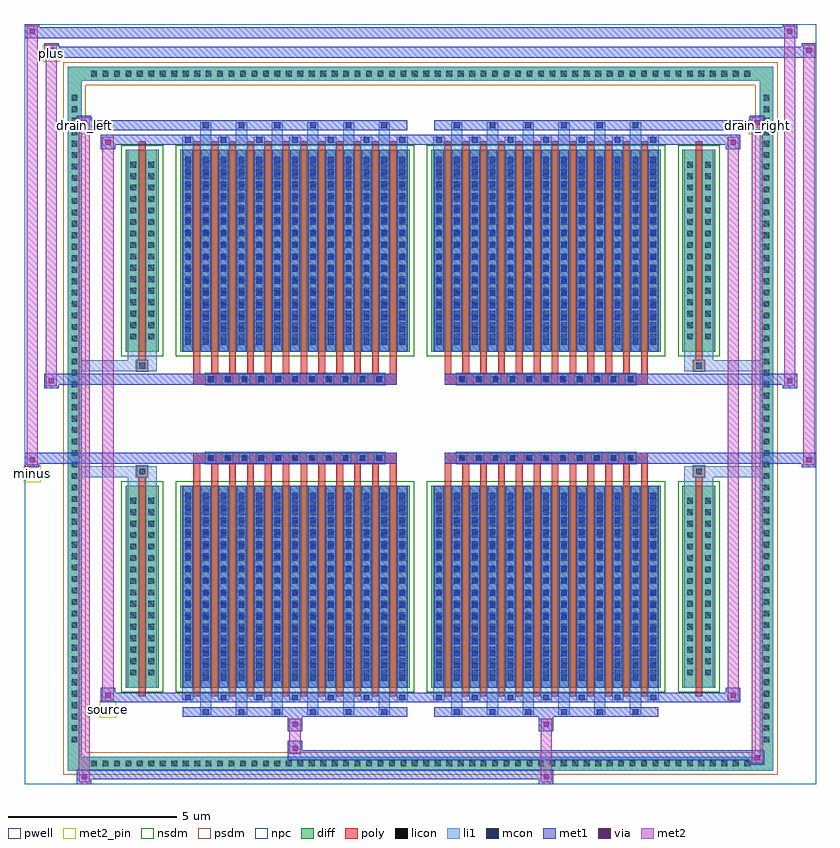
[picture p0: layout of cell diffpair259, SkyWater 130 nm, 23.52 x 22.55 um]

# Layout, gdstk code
import gdstk
lib = gdstk.Library(unit=1e-6, precision=5e-09)
def R(c, l, rs):  # rectangles x0, y0, x1, y1
    for r in rs: c.add(gdstk.rectangle(r[:2], r[2:], *l))
def A(c, l, x, y, w, h, nx, ny, dx, dy):  # array of equal rectangles
    R(c, l, [(x+i*dx, y+j*dy, x+i*dx+w, y+j*dy+h) for i in range(nx) for j in range(ny)])
def P(c, l, *ps):  # polygons
    for p in ps: c.add(gdstk.Polygon(p, *l))
pwell = (64, 44)
diff = (65, 20)
poly = (66, 20)
licon = (66, 44)
li1 = (67, 20)
mcon = (67, 44)
met1 = (68, 20)
via = (68, 44)
met2_pin = (69, 16)
met2 = (69, 20)
nsdm = (93, 44)
psdm = (94, 20)
npc = (95, 20)

diffpair259 = lib.new_cell('diffpair259')
R(diffpair259, pwell, [(-11.74,-10.84,11.74,11.71), (-9.06,-9.03,-0.01,-0.805), (0.01,-9.03,9.06,-0.805), (-9.06,0.805,-0.01,9.03), (0.01,0.805,9.06,9.03)])
A(diffpair259, diff, -9.895, -10.44, 0.41, 0.41, 58, 2, 0.34, 20.47)
A(diffpair259, diff, -10.47, -9.725, 0.41, 0.41, 1, 57, 0, 0.34)
A(diffpair259, diff, 10.06, -9.725, 0.41, 0.41, 1, 57, 0, 0.34)
R(diffpair259, diff, [(-9.895,-10.44,9.895,-10.03), (-10.47,-9.725,-10.06,9.725), (10.06,-9.725,10.47,9.725), (-8.75,-7.985,-7.77,-1.985), (-7.13,-7.985,-0.32,-1.985), (0.32,-7.985,7.13,-1.985), (7.77,-7.985,8.75,-1.985), (-8.75,1.985,-7.77,7.985), (-7.13,1.985,-0.32,7.985), (0.32,1.985,7.13,7.985), (7.77,1.985,8.75,7.985), (-9.895,10.03,9.895,10.44)])
P(diffpair259, diff, [(10.47,10.44),(-10.47,10.44),(-10.47,-10.03),(-10.06,-10.03),(-10.06,10.03),(10.06,10.03),(10.06,-10.03),(-10.06,-10.03),(-10.47,-10.03),(-10.47,-10.44),(10.47,-10.44)])
A(diffpair259, poly, -6.74, -8.235, 0.2, 6.5, 12, 2, 0.53, 9.97)
A(diffpair259, poly, 0.71, -8.235, 0.2, 6.5, 12, 2, 0.53, 9.97)
A(diffpair259, poly, -6.74, -1.735, 0.2, 0.4, 12, 2, 0.53, 3.07)
A(diffpair259, poly, 0.71, -1.735, 0.2, 0.4, 12, 2, 0.53, 3.07)
A(diffpair259, poly, -6.39, -1.335, 0.33, 0.33, 11, 2, 0.5, 2.34)
A(diffpair259, poly, 1.06, -1.335, 0.33, 0.33, 11, 2, 0.5, 2.34)
R(diffpair259, poly, [(-8.36,-8.235,-8.16,-1.735), (8.16,-8.235,8.36,-1.735), (-8.425,-1.735,-8.095,-1.405), (-8.425,-1.735,-8.095,-1.405), (8.095,-1.735,8.425,-1.405), (8.095,-1.735,8.425,-1.405), (-6.74,-1.335,-0.71,-1.005), (0.71,-1.335,6.74,-1.005), (-6.74,1.005,-0.71,1.335), (0.71,1.005,6.74,1.335), (-8.425,1.405,-8.095,1.735), (-8.425,1.405,-8.095,1.735), (8.095,1.405,8.425,1.735), (8.095,1.405,8.425,1.735), (-8.36,1.735,-8.16,8.235), (8.16,1.735,8.36,8.235)])
A(diffpair259, licon, -9.775, -10.32, 0.17, 0.17, 58, 2, 0.34, 20.47)
A(diffpair259, licon, -10.35, -9.605, 0.17, 0.17, 1, 57, 0, 0.34)
A(diffpair259, licon, 10.18, -9.605, 0.17, 0.17, 1, 57, 0, 0.34)
A(diffpair259, licon, -8.61, -7.62, 0.17, 0.17, 1, 16, 0, 0.34)
A(diffpair259, licon, -8.08, -7.62, 0.17, 0.17, 1, 16, 0, 0.34)
A(diffpair259, licon, -6.99, -7.62, 0.17, 0.17, 13, 16, 0.53, 0.34)
A(diffpair259, licon, 0.46, -7.62, 0.17, 0.17, 13, 16, 0.53, 0.34)
A(diffpair259, licon, 7.91, -7.62, 0.17, 0.17, 1, 16, 0, 0.34)
A(diffpair259, licon, 8.44, -7.62, 0.17, 0.17, 1, 16, 0, 0.34)
A(diffpair259, licon, -6.31, -1.255, 0.17, 0.17, 11, 2, 0.5, 2.34)
A(diffpair259, licon, 1.14, -1.255, 0.17, 0.17, 11, 2, 0.5, 2.34)
A(diffpair259, licon, -8.61, 2.35, 0.17, 0.17, 1, 16, 0, 0.34)
A(diffpair259, licon, -8.08, 2.35, 0.17, 0.17, 1, 16, 0, 0.34)
A(diffpair259, licon, -6.99, 2.35, 0.17, 0.17, 13, 16, 0.53, 0.34)
A(diffpair259, licon, 0.46, 2.35, 0.17, 0.17, 13, 16, 0.53, 0.34)
A(diffpair259, licon, 7.91, 2.35, 0.17, 0.17, 1, 16, 0, 0.34)
A(diffpair259, licon, 8.44, 2.35, 0.17, 0.17, 1, 16, 0, 0.34)
R(diffpair259, licon, [(-8.345,-1.655,-8.175,-1.485), (8.175,-1.655,8.345,-1.485), (-8.345,1.485,-8.175,1.655), (8.175,1.485,8.345,1.655)])
A(diffpair259, li1, -9.855, -10.4, 0.33, 0.33, 58, 2, 0.34, 20.47)
A(diffpair259, li1, -10.43, -9.685, 0.33, 0.33, 1, 57, 0, 0.34)
A(diffpair259, li1, 10.1, -9.685, 0.33, 0.33, 1, 57, 0, 0.34)
A(diffpair259, li1, -6.54, -8.79, 0.33, 0.805, 6, 2, 1.06, 16.775)
A(diffpair259, li1, -6.46, -8.79, 0.17, 0.17, 6, 2, 1.06, 17.41)
A(diffpair259, li1, 0.91, -8.79, 0.33, 0.805, 6, 2, 1.06, 16.775)
A(diffpair259, li1, 0.99, -8.79, 0.17, 0.17, 6, 2, 1.06, 17.41)
A(diffpair259, li1, -7.07, -8.36, 0.33, 0.375, 7, 2, 1.06, 16.345)
A(diffpair259, li1, -6.99, -8.36, 0.17, 0.17, 7, 2, 1.06, 16.55)
A(diffpair259, li1, 0.38, -8.36, 0.33, 0.375, 7, 2, 1.06, 16.345)
A(diffpair259, li1, 0.46, -8.36, 0.17, 0.17, 7, 2, 1.06, 16.55)
A(diffpair259, li1, -7.07, -7.985, 0.33, 6, 13, 2, 0.53, 9.97)
A(diffpair259, li1, 0.38, -7.985, 0.33, 6, 13, 2, 0.53, 9.97)
A(diffpair259, li1, -6.99, -7.77, 0.17, 0.17, 13, 16, 0.53, 0.36)
A(diffpair259, li1, -6.99, -7.77, 0.17, 5.57, 13, 2, 0.53, 9.97)
A(diffpair259, li1, 0.46, -7.77, 0.17, 0.17, 13, 16, 0.53, 0.36)
A(diffpair259, li1, 0.46, -7.77, 0.17, 5.57, 13, 2, 0.53, 9.97)
A(diffpair259, li1, -8.69, -7.7, 0.33, 0.33, 1, 16, 0, 0.34)
A(diffpair259, li1, -8.16, -7.7, 0.33, 0.33, 1, 16, 0, 0.34)
A(diffpair259, li1, -7.07, -7.7, 0.33, 0.33, 13, 16, 0.53, 0.34)
A(diffpair259, li1, 0.38, -7.7, 0.33, 0.33, 13, 16, 0.53, 0.34)
A(diffpair259, li1, 7.83, -7.7, 0.33, 0.33, 1, 16, 0, 0.34)
A(diffpair259, li1, 8.36, -7.7, 0.33, 0.33, 1, 16, 0, 0.34)
A(diffpair259, li1, -6.39, -1.335, 0.33, 0.33, 11, 2, 0.5, 2.34)
A(diffpair259, li1, 1.06, -1.335, 0.33, 0.33, 11, 2, 0.5, 2.34)
A(diffpair259, li1, -6.99, 2.2, 0.17, 0.17, 13, 16, 0.53, 0.36)
A(diffpair259, li1, 0.46, 2.2, 0.17, 0.17, 13, 16, 0.53, 0.36)
A(diffpair259, li1, -8.69, 2.27, 0.33, 0.33, 1, 16, 0, 0.34)
A(diffpair259, li1, -8.16, 2.27, 0.33, 0.33, 1, 16, 0, 0.34)
A(diffpair259, li1, -7.07, 2.27, 0.33, 0.33, 13, 16, 0.53, 0.34)
A(diffpair259, li1, 0.38, 2.27, 0.33, 0.33, 13, 16, 0.53, 0.34)
A(diffpair259, li1, 7.83, 2.27, 0.33, 0.33, 1, 16, 0, 0.34)
A(diffpair259, li1, 8.36, 2.27, 0.33, 0.33, 1, 16, 0, 0.34)
R(diffpair259, li1, [(-10.47,-10.44,-10.06,-10.03), (-10.47,-10.44,-10.06,-10.03), (-10.06,-10.44,10.06,-10.03), (10.06,-10.44,10.47,-10.03), (10.06,-10.44,10.47,-10.03), (-10.47,-10.03,-10.06,10.03), (10.06,-10.03,10.47,10.03), (-8.69,-7.985,-8.36,-1.985), (-8.16,-7.985,-7.83,-1.985), (7.83,-7.985,8.16,-1.985), (8.36,-7.985,8.69,-1.985), (-8.69,-1.985,-8.36,-1.405), (-8.16,-1.985,-7.83,-1.405), (7.83,-1.985,8.16,-1.405), (8.36,-1.985,8.69,-1.405), (-10.47,-1.735,-8.425,-1.405), (-8.69,-1.735,-8.425,-1.405), (-8.425,-1.735,-8.095,-1.405), (-8.095,-1.735,-7.83,-1.405), (7.83,-1.735,8.095,-1.405), (8.095,-1.735,8.425,-1.405), (8.095,-1.735,10.47,-1.405), (8.425,-1.735,8.69,-1.405), (-10.47,1.405,-8.425,1.735), (-8.69,1.405,-8.425,1.735), (-8.69,1.405,-8.36,1.985), (-8.425,1.405,-8.095,1.735), (-8.16,1.405,-7.83,1.985), (-8.095,1.405,-7.83,1.735), (7.83,1.405,8.095,1.735), (7.83,1.405,8.16,1.985), (8.095,1.405,8.425,1.735), (8.095,1.405,10.47,1.735), (8.36,1.405,8.69,1.985), (8.425,1.405,8.69,1.735), (-8.69,1.985,-8.36,7.985), (-8.16,1.985,-7.83,7.985), (7.83,1.985,8.16,7.985), (8.36,1.985,8.69,7.985), (-10.47,10.03,-10.06,10.44), (-10.47,10.03,-10.06,10.44), (-10.06,10.03,10.06,10.44), (10.06,10.03,10.47,10.44), (10.06,10.03,10.47,10.44)])
A(diffpair259, mcon, -6.46, -8.79, 0.17, 0.17, 6, 2, 1.06, 17.41)
A(diffpair259, mcon, 0.99, -8.79, 0.17, 0.17, 6, 2, 1.06, 17.41)
A(diffpair259, mcon, -6.99, -8.36, 0.17, 0.17, 7, 2, 1.06, 16.55)
A(diffpair259, mcon, 0.46, -8.36, 0.17, 0.17, 7, 2, 1.06, 16.55)
A(diffpair259, mcon, -6.99, -7.77, 0.17, 0.17, 13, 16, 0.53, 0.36)
A(diffpair259, mcon, 0.46, -7.77, 0.17, 0.17, 13, 16, 0.53, 0.36)
A(diffpair259, mcon, -6.31, -1.255, 0.17, 0.17, 11, 2, 0.5, 2.34)
A(diffpair259, mcon, 1.14, -1.255, 0.17, 0.17, 11, 2, 0.5, 2.34)
A(diffpair259, mcon, -6.99, 2.2, 0.17, 0.17, 13, 16, 0.53, 0.36)
A(diffpair259, mcon, 0.46, 2.2, 0.17, 0.17, 13, 16, 0.53, 0.36)
A(diffpair259, met1, -6.52, -8.85, 0.29, 0.29, 6, 2, 1.06, 17.41)
A(diffpair259, met1, 0.93, -8.85, 0.29, 0.29, 6, 2, 1.06, 17.41)
A(diffpair259, met1, -7.05, -8.42, 0.29, 0.29, 7, 2, 1.06, 16.55)
A(diffpair259, met1, 0.4, -8.42, 0.29, 0.29, 7, 2, 1.06, 16.55)
A(diffpair259, met1, -7.05, -7.985, 0.29, 6, 13, 2, 0.53, 9.97)
A(diffpair259, met1, 0.4, -7.985, 0.29, 6, 13, 2, 0.53, 9.97)
A(diffpair259, met1, -7.05, -7.83, 0.29, 0.29, 13, 16, 0.53, 0.36)
A(diffpair259, met1, 0.4, -7.83, 0.29, 0.29, 13, 16, 0.53, 0.36)
A(diffpair259, met1, -6.37, -1.315, 0.29, 0.29, 11, 2, 0.5, 2.34)
A(diffpair259, met1, 1.08, -1.315, 0.29, 0.29, 11, 2, 0.5, 2.34)
A(diffpair259, met1, -7.05, 2.14, 0.29, 0.29, 13, 16, 0.53, 0.36)
A(diffpair259, met1, 0.4, 2.14, 0.29, 0.29, 13, 16, 0.53, 0.36)
R(diffpair259, met1, [(-10.2,-10.84,-9.77,-10.41), (3.51,-10.84,3.94,-10.41), (-10.2,-10.7,3.94,-10.41), (9.77,-10.27,10.2,-9.84), (-3.94,-10.13,10.2,-9.84), (-3.94,-9.99,-3.51,-9.56), (-3.94,-9.28,-3.51,-8.85), (3.51,-9.28,3.94,-8.85), (-7.05,-8.85,-0.4,-8.56), (0.4,-8.85,7.05,-8.56), (-9.49,-8.42,-9.06,-7.99), (-9.49,-8.42,-7.05,-8.13), (-7.05,-8.42,-0.4,-8.13), (-0.4,-8.42,0.4,-8.13), (0.4,-8.42,7.05,-8.13), (7.05,-8.42,9.49,-8.13), (9.06,-8.42,9.49,-7.99), (-11.74,-1.435,-11.31,-1.005), (11.31,-1.435,11.74,-1.005), (-11.74,-1.335,-0.71,-1.005), (-6.74,-1.335,-0.71,-1.005), (0.71,-1.335,6.74,-1.005), (0.71,-1.335,11.74,-1.005), (-11.17,0.905,-10.74,1.335), (10.74,0.905,11.17,1.335), (-11.17,1.005,-6.74,1.335), (-6.74,1.005,-0.71,1.335), (0.71,1.005,6.74,1.335), (6.74,1.005,11.17,1.335), (-9.49,7.99,-9.06,8.42), (9.06,7.99,9.49,8.42), (-9.49,8.13,-7.05,8.42), (-7.05,8.13,-0.4,8.42), (-0.4,8.13,0.4,8.42), (0.4,8.13,7.05,8.42), (7.05,8.13,9.49,8.42), (-10.2,8.56,-9.77,8.99), (-10.2,8.56,-7.05,8.85), (-7.05,8.56,-0.4,8.85), (0.4,8.56,7.05,8.85), (7.05,8.56,10.2,8.85), (9.77,8.56,10.2,8.99), (-11.17,10.71,-10.74,11.14), (-11.17,10.71,-9.06,11.04), (-9.06,10.71,9.06,11.04), (9.06,10.71,11.74,11.04), (11.31,10.71,11.74,11.14), (-11.74,11.28,-11.31,11.71), (-11.74,11.28,-9.06,11.61), (-9.06,11.28,9.06,11.61), (9.06,11.28,11.17,11.61), (10.74,11.28,11.17,11.71)])
R(diffpair259, via, [(-10.06,-10.7,-9.91,-10.55), (3.65,-10.7,3.8,-10.55), (9.91,-10.13,10.06,-9.98), (-3.8,-9.85,-3.65,-9.7), (-3.8,-9.14,-3.65,-8.99), (3.65,-9.14,3.8,-8.99), (-9.35,-8.28,-9.2,-8.13), (9.2,-8.28,9.35,-8.13), (-11.6,-1.295,-11.45,-1.145), (11.45,-1.295,11.6,-1.145), (-11.03,1.045,-10.88,1.195), (10.88,1.045,11.03,1.195), (-9.35,8.13,-9.2,8.28), (9.2,8.13,9.35,8.28), (-10.06,8.7,-9.91,8.85), (9.91,8.7,10.06,8.85), (-11.03,10.85,-10.88,11), (11.45,10.85,11.6,11), (-11.6,11.42,-11.45,11.57), (10.88,11.42,11.03,11.57)])
R(diffpair259, met2_pin, [(-9.525,-8.87,-9.025,-8.37), (-11.775,-1.885,-11.275,-1.385), (-10.235,8.44,-9.735,8.94), (9.735,8.44,10.235,8.94), (-11.205,10.59,-10.705,11.09)])
R(diffpair259, met2, [(-10.15,-10.79,-9.82,-10.46), (-10.15,-10.79,-9.82,8.94), (3.56,-10.79,3.89,-10.46), (3.56,-10.46,3.89,-9.23), (9.82,-10.22,10.15,-9.89), (9.82,-10.22,10.15,8.94), (-3.89,-9.94,-3.56,-9.61), (-3.89,-9.61,-3.56,-9.23), (-3.89,-9.23,-3.56,-8.9), (3.56,-9.23,3.89,-8.9), (-9.44,-8.37,-9.11,-8.04), (-9.44,-8.37,-9.11,8.37), (9.11,-8.37,9.44,-8.04), (9.11,-8.37,9.44,8.37), (-11.69,-1.385,-11.36,-1.055), (-11.69,-1.385,-11.36,11.66), (11.36,-1.385,11.69,-1.055), (11.36,-1.385,11.69,11.09), (-11.12,0.955,-10.79,1.285), (-11.12,0.955,-10.79,11.09), (10.79,0.955,11.12,1.285), (10.79,0.955,11.12,11.66), (-9.44,8.04,-9.11,8.37), (9.11,8.04,9.44,8.37), (-10.15,8.61,-9.82,8.94), (9.82,8.61,10.15,8.94), (-11.12,10.76,-10.79,11.09), (11.36,10.76,11.69,11.09), (-11.69,11.33,-11.36,11.66), (10.79,11.33,11.12,11.66)])
P(diffpair259, met2, [(11.69,-1.385),(11.69,-1.385),(11.69,-1.055),(11.69,-1.055)],
  [(11.69,10.76),(11.69,10.76),(11.69,11.09),(11.69,11.09)],
  [(-11.36,-1.385),(-11.36,-1.385),(-11.36,-1.055),(-11.36,-1.055)],
  [(-11.36,11.33),(-11.36,11.33),(-11.36,11.66),(-11.36,11.66)],
  [(11.12,0.955),(11.12,0.955),(11.12,1.285),(11.12,1.285)],
  [(11.12,11.33),(11.12,11.33),(11.12,11.66),(11.12,11.66)],
  [(-10.79,0.955),(-10.79,0.955),(-10.79,1.285),(-10.79,1.285)],
  [(-10.79,10.76),(-10.79,10.76),(-10.79,11.09),(-10.79,11.09)],
  [(-9.82,-10.79),(-9.82,-10.79),(-9.82,-10.46),(-9.82,-10.46)],
  [(-9.82,8.61),(-9.82,8.61),(-9.82,8.94),(-9.82,8.94)],
  [(10.15,-10.22),(10.15,-10.22),(10.15,-9.89),(10.15,-9.89)],
  [(10.15,8.61),(10.15,8.61),(10.15,8.94),(10.15,8.94)],
  [(-9.11,-8.37),(-9.11,-8.37),(-9.11,-8.04),(-9.11,-8.04)],
  [(-9.11,8.04),(-9.11,8.04),(-9.11,8.37),(-9.11,8.37)],
  [(9.44,-8.37),(9.44,-8.37),(9.44,-8.04),(9.44,-8.04)],
  [(9.44,8.04),(9.44,8.04),(9.44,8.37),(9.44,8.37)])
R(diffpair259, nsdm, [(-8.88,-8.115,-7.64,-1.855), (-7.26,-8.115,-0.19,-1.855), (0.19,-8.115,7.26,-1.855), (7.64,-8.115,8.88,-1.855), (-8.88,1.855,-7.64,8.115), (-7.26,1.855,-0.19,8.115), (0.19,1.855,7.26,8.115), (7.64,1.855,8.88,8.115)])
P(diffpair259, psdm, [(10.6,10.57),(-10.6,10.57),(-10.6,-9.9),(-9.93,-9.9),(-9.93,9.9),(9.93,9.9),(9.93,-9.9),(-9.93,-9.9),(-10.6,-9.9),(-10.6,-10.57),(10.6,-10.57)])
A(diffpair259, npc, -6.41, -1.355, 0.37, 0.37, 11, 2, 0.5, 2.34)
A(diffpair259, npc, 1.04, -1.355, 0.37, 0.37, 11, 2, 0.5, 2.34)
R(diffpair259, npc, [(-8.445,-1.755,-8.075,-1.385), (8.075,-1.755,8.445,-1.385), (-6.41,-1.355,-5.54,-0.985), (-6.41,-1.355,-5.54,-0.985), (-5.91,-1.355,-5.04,-0.985), (-5.91,-1.355,-5.04,-0.985), (-5.41,-1.355,-4.54,-0.985), (-5.41,-1.355,-4.54,-0.985), (-4.91,-1.355,-4.04,-0.985), (-4.91,-1.355,-4.04,-0.985), (-4.41,-1.355,-3.54,-0.985), (-4.41,-1.355,-3.54,-0.985), (-3.91,-1.355,-3.04,-0.985), (-3.91,-1.355,-3.04,-0.985), (-3.41,-1.355,-2.54,-0.985), (-3.41,-1.355,-2.54,-0.985), (-2.91,-1.355,-2.04,-0.985), (-2.91,-1.355,-2.04,-0.985), (-2.41,-1.355,-1.54,-0.985), (-2.41,-1.355,-1.54,-0.985), (-1.91,-1.355,-1.04,-0.985), (-1.91,-1.355,-1.04,-0.985), (1.04,-1.355,1.91,-0.985), (1.04,-1.355,1.91,-0.985), (1.54,-1.355,2.41,-0.985), (1.54,-1.355,2.41,-0.985), (2.04,-1.355,2.91,-0.985), (2.04,-1.355,2.91,-0.985), (2.54,-1.355,3.41,-0.985), (2.54,-1.355,3.41,-0.985), (3.04,-1.355,3.91,-0.985), (3.04,-1.355,3.91,-0.985), (3.54,-1.355,4.41,-0.985), (3.54,-1.355,4.41,-0.985), (4.04,-1.355,4.91,-0.985), (4.04,-1.355,4.91,-0.985), (4.54,-1.355,5.41,-0.985), (4.54,-1.355,5.41,-0.985), (5.04,-1.355,5.91,-0.985), (5.04,-1.355,5.91,-0.985), (5.54,-1.355,6.41,-0.985), (5.54,-1.355,6.41,-0.985), (-6.41,0.985,-5.54,1.355), (-6.41,0.985,-5.54,1.355), (-5.91,0.985,-5.04,1.355), (-5.91,0.985,-5.04,1.355), (-5.41,0.985,-4.54,1.355), (-5.41,0.985,-4.54,1.355), (-4.91,0.985,-4.04,1.355), (-4.91,0.985,-4.04,1.355), (-4.41,0.985,-3.54,1.355), (-4.41,0.985,-3.54,1.355), (-3.91,0.985,-3.04,1.355), (-3.91,0.985,-3.04,1.355), (-3.41,0.985,-2.54,1.355), (-3.41,0.985,-2.54,1.355), (-2.91,0.985,-2.04,1.355), (-2.91,0.985,-2.04,1.355), (-2.41,0.985,-1.54,1.355), (-2.41,0.985,-1.54,1.355), (-1.91,0.985,-1.04,1.355), (-1.91,0.985,-1.04,1.355), (1.04,0.985,1.91,1.355), (1.04,0.985,1.91,1.355), (1.54,0.985,2.41,1.355), (1.54,0.985,2.41,1.355), (2.04,0.985,2.91,1.355), (2.04,0.985,2.91,1.355), (2.54,0.985,3.41,1.355), (2.54,0.985,3.41,1.355), (3.04,0.985,3.91,1.355), (3.04,0.985,3.91,1.355), (3.54,0.985,4.41,1.355), (3.54,0.985,4.41,1.355), (4.04,0.985,4.91,1.355), (4.04,0.985,4.91,1.355), (4.54,0.985,5.41,1.355), (4.54,0.985,5.41,1.355), (5.04,0.985,5.91,1.355), (5.04,0.985,5.91,1.355), (5.54,0.985,6.41,1.355), (5.54,0.985,6.41,1.355), (-8.445,1.385,-8.075,1.755), (8.075,1.385,8.445,1.755)])
diffpair259.add(gdstk.Label('minus', (-11.525,-1.635), layer=69, texttype=5))
diffpair259.add(gdstk.Label('drain_right', (9.985,8.69), layer=69, texttype=5))
diffpair259.add(gdstk.Label('drain_left', (-9.985,8.69), layer=69, texttype=5))
diffpair259.add(gdstk.Label('source', (-9.275,-8.62), layer=69, texttype=5))
diffpair259.add(gdstk.Label('plus', (-10.955,10.84), layer=69, texttype=5))

lib.write_gds('diffpair259.gds')
